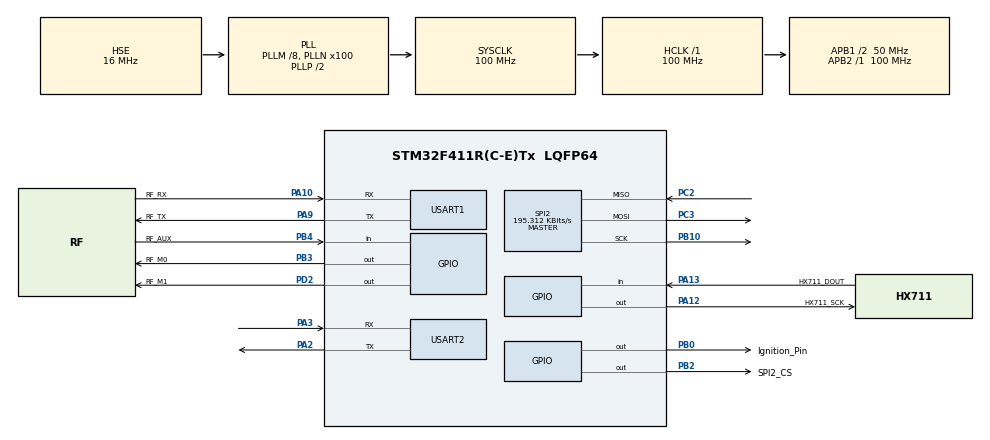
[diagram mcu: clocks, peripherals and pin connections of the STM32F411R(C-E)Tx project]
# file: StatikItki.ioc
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Mcu.Family=STM32F4
Mcu.Name=STM32F411R(C-E)Tx
Mcu.Package=LQFP64
NVIC.PriorityGroup=NVIC_PRIORITYGROUP_4
PA10.GPIO_Label=RF_RX
PA10.Mode=Asynchronous
PA10.Signal=USART1_RX
PA12.GPIO_Label=HX711_SCK
PA12.Signal=GPIO_Output
PA13.GPIO_Label=HX711_DOUT
PA13.Signal=GPIO_Input
PA2.Mode=Asynchronous
PA2.Signal=USART2_TX
PA3.Mode=Asynchronous
PA3.Signal=USART2_RX
PA9.GPIO_Label=RF_TX
PA9.Mode=Asynchronous
PA9.Signal=USART1_TX
PB0.GPIO_Label=Ignition_Pin
PB0.Signal=GPIO_Output
PB10.GPIO_PuPd=GPIO_PULLUP
PB10.Mode=Full_Duplex_Master
PB10.Signal=SPI2_SCK
PB2.GPIO_Label=SPI2_CS
PB2.Signal=GPIO_Output
PB3.GPIO_Label=RF_M0
PB3.Signal=GPIO_Output
PB4.GPIO_Label=RF_AUX
PB4.Signal=GPIO_Input
PC2.GPIO_PuPd=GPIO_PULLUP
PC2.Mode=Full_Duplex_Master
PC2.Signal=SPI2_MISO
PC3.GPIO_PuPd=GPIO_PULLUP
PC3.Mode=Full_Duplex_Master
PC3.Signal=SPI2_MOSI
PD2.GPIO_Label=RF_M1
PD2.Signal=GPIO_Output
PH0\ -\ OSC_IN.Mode=HSE-External-Oscillator
PH0\ -\ OSC_IN.Signal=RCC_OSC_IN
PH1\ -\ OSC_OUT.Mode=HSE-External-Oscillator
PH1\ -\ OSC_OUT.Signal=RCC_OSC_OUT
ProjectManager.HeapSize=0x200
ProjectManager.StackSize=0x400
ProjectManager.TargetToolchain=STM32CubeIDE
RCC.48MHZClocksFreq_Value=50000000
RCC.AHBFreq_Value=100000000
RCC.APB1CLKDivider=RCC_HCLK_DIV2
RCC.APB1Freq_Value=50000000
RCC.APB1TimFreq_Value=100000000
RCC.APB2Freq_Value=100000000
RCC.APB2TimFreq_Value=100000000
RCC.CortexFreq_Value=100000000
RCC.HCLKFreq_Value=100000000
RCC.HSE_VALUE=16000000
RCC.HSI_VALUE=16000000
RCC.LSE_VALUE=32768
RCC.PLLM=8
RCC.PLLN=100
RCC.PLLSourceVirtual=RCC_PLLSOURCE_HSE
RCC.SYSCLKFreq_VALUE=100000000
RCC.SYSCLKSource=RCC_SYSCLKSOURCE_PLLCLK
RCC.VCOOutputFreq_Value=200000000
SPI2.BaudRatePrescaler=SPI_BAUDRATEPRESCALER_256
SPI2.CalculateBaudRate=195.312 KBits/s
SPI2.Direction=SPI_DIRECTION_2LINES
SPI2.Mode=SPI_MODE_MASTER
SPI2.VirtualType=VM_MASTER
USART1.VirtualMode=VM_ASYNC
USART2.VirtualMode=VM_ASYNC
VP_FATFS_VS_Generic.Mode=User_defined
board=custom

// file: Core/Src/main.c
/* USER CODE BEGIN Header */
/**
 ******************************************************************************
 * @file           : main.c
 * @brief          : Main program body
 ******************************************************************************
 * @attention
 *
 * Copyright (c) 2024 STMicroelectronics.
 * All rights reserved.
 *
 * This software is licensed under terms that can be found in the LICENSE file
 * in the root directory of this software component.
 * If no LICENSE file comes with this software, it is provided AS-IS.
 *
 ******************************************************************************
 */
/* USER CODE END Header */
#include "main.h"
#include "fatfs.h"
#include "log_data.h"

SPI_HandleTypeDef hspi2;

UART_HandleTypeDef huart1;
UART_HandleTypeDef huart2;

/* USER CODE BEGIN PV */
E32_433T30D RFModule;
RF_GPIOPins RFPins;
hx711_t MassSensor;
/* USER CODE END PV */

void SystemClock_Config(void);
static void MX_GPIO_Init(void);
static void MX_SPI2_Init(void);
static void MX_USART1_UART_Init(void);
static void MX_USART2_UART_Init(void);

/* USER CODE BEGIN 0 */
unsigned char message[4] = { 0, 0, 0, 0 };
unsigned char sendPack[4] = { 0, 0, 0, 0 };
float mass = 0;
/* USER CODE END 0 */

int main(void) {

	/* MCU Configuration--------------------------------------------------------*/

	/* Reset of all peripherals, Initializes the Flash interface and the Systick. */
	HAL_Init();

	/* Configure the system clock */
	SystemClock_Config();

	/* Initialize all configured peripherals */
	MX_GPIO_Init();
	MX_SPI2_Init();
	MX_USART1_UART_Init();
	MX_USART2_UART_Init();
	MX_FATFS_Init();
	/* USER CODE BEGIN 2 */
	HAL_GPIO_WritePin(Ignition_Pin_GPIO_Port, Ignition_Pin_Pin, GPIO_PIN_RESET);

	HX711_Init(&MassSensor, HX711_SCK_GPIO_Port, HX711_SCK_Pin,
			HX711_DOUT_GPIO_Port, HX711_DOUT_Pin);

	//RFPinSet(&(RFPins.M1Pin), RF_M0_GPIO_Port, RF_M0_Pin);
	//RFPinSet(&(RFPins.M1Pin), RF_M1_GPIO_Port, RF_M1_Pin);
	//RFPinSet(&(RFPins.AUXPin), RF_AUX_GPIO_Port, RF_AUX_Pin);
	RFInit_Debugger(&RFModule, &huart1, &huart2, RFPins);

	RFModule.setChannel(&RFModule, RF_Channel);
	RFModule.setAddresses(&RFModule, RF_Add_HIGH, RF_Add_LOW);
	RFModule.setAirDataRate(&RFModule, AIRDATARATE_24k);
	RFModule.setTransmissionMode(&RFModule, FIXEDMODE);
	RFModule.setTransmissionPower(&RFModule, TRANSMISSIONPOWER_30);
	RFModule.setUARTBaudRate(&RFModule, UARTBAUDRATE_115200);
	RFModule.setDebuggerUARTBaudRate(&RFModule, UARTBAUDRATE_115200);

	RFStart(&RFModule);
	/* USER CODE END 2 */

	/* Infinite loop */
	/* USER CODE BEGIN WHILE */
	while (1) {
		mass = HX711_GetWeight(&MassSensor);

		if (RFModule.receiveDataPacket(&RFModule, message, sizeof(message))
				== E32_Success) {
			// Patlatma
			if (message[0] == 'y') {
				if (message[1] == 'e') {
					if (message[2] == 's') {
						HAL_GPIO_WritePin(Ignition_Pin_GPIO_Port,
						Ignition_Pin_Pin, GPIO_PIN_SET);
						HAL_Delay(500);
						HAL_GPIO_WritePin(Ignition_Pin_GPIO_Port,
						Ignition_Pin_Pin, GPIO_PIN_RESET);
						HAL_Delay(500);

						sendPack[0] = 11;
						sendPack[1] = 45;
						sendPack[2] = 101;
						RFModule.sendFixedDataPacket(&RFModule,
						RF_Gonderilecek_Add_HIGH, RF_Gonderilecek_Add_LOW,
						RF_Gonderilecek_Channel, sendPack, sizeof(sendPack));
					}
				}
			}

			// Sistem Kontrol
			else if (message[0] == 'k') {
				sendPack[0] = 201;
				sendPack[1] = 16;
				sendPack[2] = 67;
				RFModule.sendFixedDataPacket(&RFModule,
				RF_Gonderilecek_Add_HIGH,
				RF_Gonderilecek_Add_LOW, RF_Gonderilecek_Channel, sendPack,
						sizeof(sendPack));
			}

			sendPack[0] = 0;
			sendPack[1] = 0;
			sendPack[2] = 0;
			sendPack[3] = 0;
		} else {
			message[0] = 0;
			message[1] = 0;
			message[2] = 0;
			message[3] = 0;
		}
		/* USER CODE END WHILE */

		/* USER CODE BEGIN 3 */
	}

	RFClose(&RFModule);
	/* USER CODE END 3 */
}

void SystemClock_Config(void) {
	RCC_OscInitTypeDef RCC_OscInitStruct = { 0 };
	RCC_ClkInitTypeDef RCC_ClkInitStruct = { 0 };

	/** Configure the main internal regulator output voltage
	 */
	__HAL_RCC_PWR_CLK_ENABLE();
	__HAL_PWR_VOLTAGESCALING_CONFIG(PWR_REGULATOR_VOLTAGE_SCALE1);

	/** Initializes the RCC Oscillators according to the specified parameters
	 * in the RCC_OscInitTypeDef structure.
	 */
	RCC_OscInitStruct.OscillatorType = RCC_OSCILLATORTYPE_HSE;
	RCC_OscInitStruct.HSEState = RCC_HSE_ON;
	RCC_OscInitStruct.PLL.PLLState = RCC_PLL_ON;
	RCC_OscInitStruct.PLL.PLLSource = RCC_PLLSOURCE_HSE;
	RCC_OscInitStruct.PLL.PLLM = 8;
	RCC_OscInitStruct.PLL.PLLN = 100;
	RCC_OscInitStruct.PLL.PLLP = RCC_PLLP_DIV2;
	RCC_OscInitStruct.PLL.PLLQ = 4;
	if (HAL_RCC_OscConfig(&RCC_OscInitStruct) != HAL_OK) {
		Error_Handler();
	}

	/** Initializes the CPU, AHB and APB buses clocks
	 */
	RCC_ClkInitStruct.ClockType = RCC_CLOCKTYPE_HCLK | RCC_CLOCKTYPE_SYSCLK
			| RCC_CLOCKTYPE_PCLK1 | RCC_CLOCKTYPE_PCLK2;
	RCC_ClkInitStruct.SYSCLKSource = RCC_SYSCLKSOURCE_PLLCLK;
	RCC_ClkInitStruct.AHBCLKDivider = RCC_SYSCLK_DIV1;
	RCC_ClkInitStruct.APB1CLKDivider = RCC_HCLK_DIV2;
	RCC_ClkInitStruct.APB2CLKDivider = RCC_HCLK_DIV1;

	if (HAL_RCC_ClockConfig(&RCC_ClkInitStruct, FLASH_LATENCY_3) != HAL_OK) {
		Error_Handler();
	}
}

static void MX_SPI2_Init(void) {

	/* SPI2 parameter configuration*/
	hspi2.Instance = SPI2;
	hspi2.Init.Mode = SPI_MODE_MASTER;
	hspi2.Init.Direction = SPI_DIRECTION_2LINES;
	hspi2.Init.DataSize = SPI_DATASIZE_8BIT;
	hspi2.Init.CLKPolarity = SPI_POLARITY_LOW;
	hspi2.Init.CLKPhase = SPI_PHASE_1EDGE;
	hspi2.Init.NSS = SPI_NSS_SOFT;
	hspi2.Init.BaudRatePrescaler = SPI_BAUDRATEPRESCALER_256;
	hspi2.Init.FirstBit = SPI_FIRSTBIT_MSB;
	hspi2.Init.TIMode = SPI_TIMODE_DISABLE;
	hspi2.Init.CRCCalculation = SPI_CRCCALCULATION_DISABLE;
	hspi2.Init.CRCPolynomial = 10;
	if (HAL_SPI_Init(&hspi2) != HAL_OK) {
		Error_Handler();
	}

}

static void MX_USART1_UART_Init(void) {

	huart1.Instance = USART1;
	huart1.Init.BaudRate = 115200;
	huart1.Init.WordLength = UART_WORDLENGTH_8B;
	huart1.Init.StopBits = UART_STOPBITS_1;
	huart1.Init.Parity = UART_PARITY_NONE;
	huart1.Init.Mode = UART_MODE_TX_RX;
	huart1.Init.HwFlowCtl = UART_HWCONTROL_NONE;
	huart1.Init.OverSampling = UART_OVERSAMPLING_16;
	if (HAL_UART_Init(&huart1) != HAL_OK) {
		Error_Handler();
	}

}

static void MX_USART2_UART_Init(void) {

	huart2.Instance = USART2;
	huart2.Init.BaudRate = 115200;
	huart2.Init.WordLength = UART_WORDLENGTH_8B;
	huart2.Init.StopBits = UART_STOPBITS_1;
	huart2.Init.Parity = UART_PARITY_NONE;
	huart2.Init.Mode = UART_MODE_TX_RX;
	huart2.Init.HwFlowCtl = UART_HWCONTROL_NONE;
	huart2.Init.OverSampling = UART_OVERSAMPLING_16;
	if (HAL_UART_Init(&huart2) != HAL_OK) {
		Error_Handler();
	}

}

static void MX_GPIO_Init(void) {
	GPIO_InitTypeDef GPIO_InitStruct = { 0 };

	/* GPIO Ports Clock Enable */
	__HAL_RCC_GPIOH_CLK_ENABLE();
	__HAL_RCC_GPIOC_CLK_ENABLE();
	__HAL_RCC_GPIOA_CLK_ENABLE();
	__HAL_RCC_GPIOB_CLK_ENABLE();
	__HAL_RCC_GPIOD_CLK_ENABLE();

	/*Configure GPIO pin Output Level */
	HAL_GPIO_WritePin(GPIOB, Ignition_Pin_Pin | SPI2_CS_Pin | RF_M0_Pin,
			GPIO_PIN_RESET);

	/*Configure GPIO pin Output Level */
	HAL_GPIO_WritePin(HX711_SCK_GPIO_Port, HX711_SCK_Pin, GPIO_PIN_RESET);

	/*Configure GPIO pin Output Level */
	HAL_GPIO_WritePin(RF_M1_GPIO_Port, RF_M1_Pin, GPIO_PIN_RESET);

	/*Configure GPIO pins : Ignition_Pin_Pin SPI2_CS_Pin RF_M0_Pin */
	GPIO_InitStruct.Pin = Ignition_Pin_Pin | SPI2_CS_Pin | RF_M0_Pin;
	GPIO_InitStruct.Mode = GPIO_MODE_OUTPUT_PP;
	GPIO_InitStruct.Pull = GPIO_NOPULL;
	GPIO_InitStruct.Speed = GPIO_SPEED_FREQ_LOW;
	HAL_GPIO_Init(GPIOB, &GPIO_InitStruct);

	/*Configure GPIO pin : HX711_SCK_Pin */
	GPIO_InitStruct.Pin = HX711_SCK_Pin;
	GPIO_InitStruct.Mode = GPIO_MODE_OUTPUT_PP;
	GPIO_InitStruct.Pull = GPIO_NOPULL;
	GPIO_InitStruct.Speed = GPIO_SPEED_FREQ_LOW;
	HAL_GPIO_Init(HX711_SCK_GPIO_Port, &GPIO_InitStruct);

	/*Configure GPIO pin : HX711_DOUT_Pin */
	GPIO_InitStruct.Pin = HX711_DOUT_Pin;
	GPIO_InitStruct.Mode = GPIO_MODE_INPUT;
	GPIO_InitStruct.Pull = GPIO_NOPULL;
	HAL_GPIO_Init(HX711_DOUT_GPIO_Port, &GPIO_InitStruct);

	/*Configure GPIO pin : RF_M1_Pin */
	GPIO_InitStruct.Pin = RF_M1_Pin;
	GPIO_InitStruct.Mode = GPIO_MODE_OUTPUT_PP;
	GPIO_InitStruct.Pull = GPIO_NOPULL;
	GPIO_InitStruct.Speed = GPIO_SPEED_FREQ_LOW;
	HAL_GPIO_Init(RF_M1_GPIO_Port, &GPIO_InitStruct);

	/*Configure GPIO pin : RF_AUX_Pin */
	GPIO_InitStruct.Pin = RF_AUX_Pin;
	GPIO_InitStruct.Mode = GPIO_MODE_INPUT;
	GPIO_InitStruct.Pull = GPIO_NOPULL;
	HAL_GPIO_Init(RF_AUX_GPIO_Port, &GPIO_InitStruct);

}

void Error_Handler(void) {
	__disable_irq();
	while (1) {
	}
}
